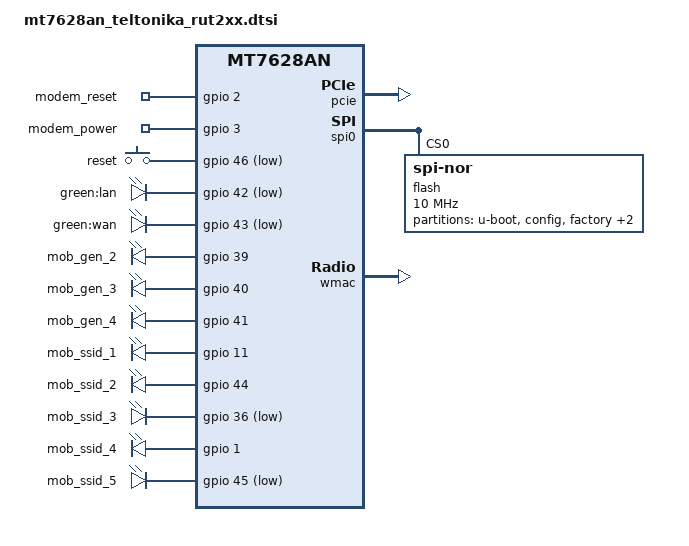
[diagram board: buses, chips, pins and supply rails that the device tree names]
// SPDX-License-Identifier: GPL-2.0-or-later OR MIT
/dts-v1/;

#include <dt-bindings/input/input.h>
#include <dt-bindings/gpio/gpio.h>
#include "mt7628an.dtsi"

/ {
	chosen {
		bootargs = "console=ttyS0,115200";
	};

	aliases {
		led-boot = &led_ssid_1;
		led-failsafe = &led_ssid_1;
		led-upgrade = &led_ssid_1;
	};

	gpio-export {
		compatible = "gpio-export";
		#size-cells = <0>;

		gpio_modem_reset {
		gpio-export,name = "modem_reset";
		gpio-export,output = <0>;
		gpios = <&gpio 2 GPIO_ACTIVE_HIGH>;
		};

		gpio_modem_power {
		gpio-export,name = "modem_power";
		gpio-export,output = <0>;
		gpios = <&gpio 3 GPIO_ACTIVE_HIGH>;
		};
	};

	keys {
		compatible = "gpio-keys";

		reset {
			label = "reset";
			gpios = <&gpio 46 GPIO_ACTIVE_LOW>;
			linux,code = <KEY_RESTART>;
		};
	};

	leds {
		compatible = "gpio-leds";

		eth1_led {
			label = "green:lan";
			gpios = <&gpio 42 GPIO_ACTIVE_LOW>;
		};

		eth2_led {
			label = "green:wan";
			gpios = <&gpio 43 GPIO_ACTIVE_LOW>;
		};

		led_gen_2 {
			label = "mob_gen_2";
			gpios = <&gpio 39 GPIO_ACTIVE_HIGH>;
		};

		led_gen_3 {
			label = "mob_gen_3";
			gpios = <&gpio 40 GPIO_ACTIVE_HIGH>;
		};

		led_gen_4 {
			label = "mob_gen_4";
			gpios = <&gpio 41 GPIO_ACTIVE_HIGH>;
		};

		led_ssid_1: led_ssid_1 {
			label = "mob_ssid_1";
			gpios = <&gpio 11 GPIO_ACTIVE_HIGH>;
		};

		led_ssid_2 {
			label = "mob_ssid_2";
			gpios = <&gpio 44 GPIO_ACTIVE_HIGH>;
		};

		led_ssid_3 {
			label = "mob_ssid_3";
			gpios = <&gpio 36 GPIO_ACTIVE_LOW>;
		};

		led_ssid_4 {
			label = "mob_ssid_4";
			gpios = <&gpio 1 GPIO_ACTIVE_HIGH>;
		};

		led_ssid_5 {
			label = "mob_ssid_5";
			gpios = <&gpio 45 GPIO_ACTIVE_LOW>;
		};
	};
};

&pcie {
	status = "okay";
};

&pcie0 {
	mt76@0,0 {
		reg = <0x0000 0 0 0 0>;
		ieee80211-freq-limit = <5000000 6000000>;
		mediatek,mtd-eeprom = <&factory 0x28000>;
		nvmem-cells = <&macaddr_config_0>;
		nvmem-cell-names = "mac-address";
		mac-address-increment = <(-1)>;
	};
};

&spi0 {
	status = "okay";

	flash@0 {
		compatible = "jedec,spi-nor";
		reg = <0>;
		spi-max-frequency = <10000000>;

		partitions {
			compatible = "fixed-partitions";
			#address-cells = <1>;
			#size-cells = <1>;

			boot: partition@0 {
				label = "u-boot";
				reg = <0x0 0x20000>;
				read-only;
			};

			config: partition@20000 {
				compatible = "nvmem-cells";
				#address-cells = <1>;
				#size-cells = <1>;

				label = "config";
				reg = <0x020000 0x010000>;
				read-only;

				macaddr_config_0: macaddr@0 {
					reg = <0x0 0x6>;
				};
			};

			factory: partition@30000 {
				label = "factory";
				reg = <0x030000 0x030000>;
				read-only;
			};

			partition@60000 {
				compatible = "denx,uimage";
				label = "firmware";
				reg = <0x060000 0xf10000>;
			};

			partition@f70000 {
				label = "event-log";
				reg = <0xf70000 0x90000>;
				read-only;
			};
		};
	};
};

&wmac {
	status = "okay";
	nvmem-cells = <&macaddr_config_0>;
	nvmem-cell-names = "mac-address";
	mac-address-increment = <2>;
	mediatek,mtd-eeprom = <&factory 0x20000>;
};

&ethernet {
	nvmem-cells = <&macaddr_config_0>;
	nvmem-cell-names = "mac-address";
};

&esw {
	mediatek,portmap = <0x3e>;
};

